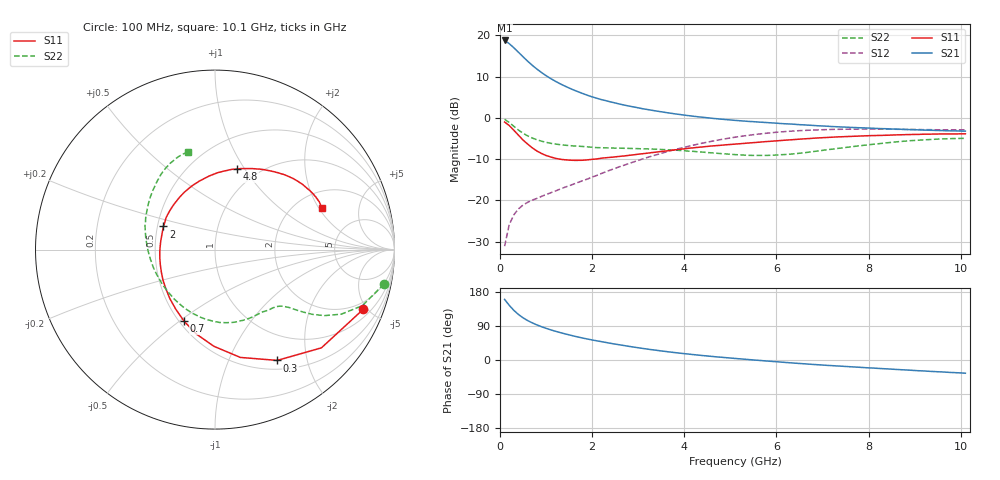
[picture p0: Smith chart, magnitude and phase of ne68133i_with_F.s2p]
! FILENAME:  NE68133I.S2P  VERSION: 12.0
! NEC PART NUMBER: NE68133  DATE: 6/97
! BIAS CONDITIONS: VCE=2.5V, IC=3mA,  CE;  HFE=125
# GHZ S MA R 50
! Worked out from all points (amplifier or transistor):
!   101 points, 100 MHz to 10.1 GHz, reference 50 ohm
!   highest |S21| = 18.7 dB at 100 MHz (marker M1)
!   |S21| within 3 dB of that: start of sweep to 413.3 MHz
!   unconditionally stable (mu >= 1): 1.201 GHz to 2.758 GHz; 8.745 GHz to end of sweep
!   at 1.7 GHz: K = 1.08, MAG = 9.2 dB, |S12| = -15.6 dB
!   at 5.1 GHz: K = 0.90, MSG = 2.0 dB, |S12| = -4.7 dB
!   at 10.1 GHz: K = 1.01, MAG = -0.8 dB, |S12| = -2.9 dB
!   lowest NFmin = 0.86 dB at 500 MHz
!   S11 on the Smith chart (normalised r, x): 100 MHz: 1.47, -4.71; 300 MHz: 0.62, -1.53; 700 MHz: 0.53, -0.52; 2 GHz: 0.54, +0.15; 4.8 GHz: 0.81, +0.93; 10.1 GHz: 2.74, +2.14
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0.1  0.89 -22.0  8.638 159.9  0.028 76.8  0.961 -11.5
0.2  0.807 -42.7  7.905 144.4  0.051 66.6  0.879 -20.8
0.3  0.708 -60.7  7.053 131.0  0.067 59.2  0.79 -27.1
0.4  0.617 -76.8  6.218 120.2  0.079 54.7  0.712 -31.1
0.5  0.539 -90.6  5.486 111.3  0.088 52.3  0.652 -33.6
0.6  0.481 -102.7  4.85 104.1  0.095 51.0  0.605 -35.2
0.7  0.434 -113.5  4.325 98.0  0.101 50.6  0.57 -36.4
0.8  0.397 -123.5  3.895 92.6  0.106 50.8  0.543 -37.3
0.9  0.371 -132.8  3.537 87.9  0.112 51.4  0.522 -38.1
1.1  0.336 -149.6  2.987 79.6  0.124 53.1  0.492 -39.9
1.4  0.311 -171.4  2.435 69.3  0.144 55.9  0.467 -42.9
1.8  0.307 165.2  1.965 57.8  0.174 58.8  0.45 -48.3
2  0.315 155.8  1.794 52.9  0.192 60.1  0.441 -51.3
2.4  0.333 138.6  1.559 44.0  0.234 60.8  0.432 -57.3
2.7  0.346 127.7  1.426 38.0  0.268 60.3  0.428 -62.6
3.5  0.392 102.8  1.184 23.9  0.372 55.1  0.414 -79.1
4  0.422 90.2  1.079 16.7  0.44 50.0  0.4 -91.3
4.8  0.466 74.5  0.964 7.3  0.547 39.6  0.369 -115.5
5.1  0.481 69.8  0.932 4.1  0.583 35.3  0.359 -125.9
6.8  0.567 47.7  0.809 -11.7  0.712 10.2  0.391 170.6
8.5  0.619 32.8  0.733 -24.2  0.729 -10.9  0.505 128.4
10.1  0.64 21.1  0.69 -34.9  0.715 -25.9  0.565 105.3
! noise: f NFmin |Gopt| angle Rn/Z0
0.5  0.86  0.54  47  0.24
1  1.08  0.46  86  0.18
2  1.4  0.35  172  0.1
2.3  1.46  0.3  190  0.13
2.5  1.5  0.28  200  0.15
2.7  1.54  0.24  210  0.17
3  1.6  0.18  225  0.2
5  2.44  0.31  185  0.25
7  3.48  0.29  195  0.35
10  4.54  0.24  210  0.5
